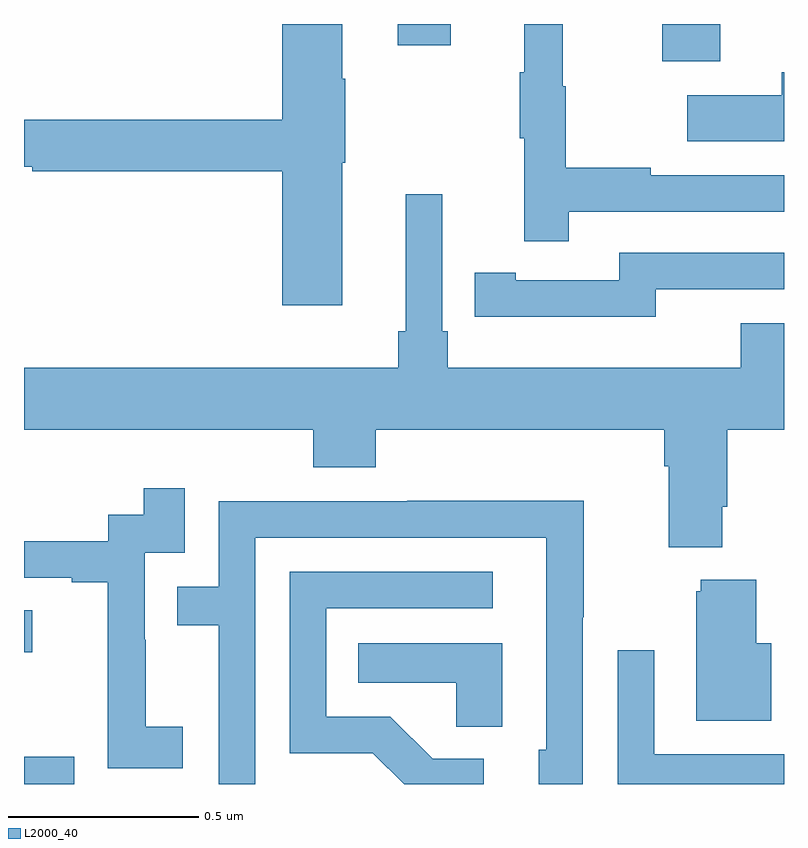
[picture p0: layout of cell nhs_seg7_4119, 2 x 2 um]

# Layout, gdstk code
import gdstk
lib = gdstk.Library(unit=1e-6, precision=1e-09)
def R(c, l, rs):  # rectangles x0, y0, x1, y1
    for r in rs: c.add(gdstk.rectangle(r[:2], r[2:], *l))
def P(c, l, *ps):  # polygons
    for p in ps: c.add(gdstk.Polygon(p, *l))
L2000_40 = (2000, 40)

nhs_seg7_4119 = lib.new_cell('nhs_seg7_4119')
R(nhs_seg7_4119, L2000_40, [(168,1017,168.132,1017.072), (168,1017.347,168.022,1017.457), (169.679,1018.902,169.832,1019), (168.983,1018.944,169.123,1019)])
P(nhs_seg7_4119, L2000_40, [(169.433,1018.506),(170,1018.506),(170,1018.602),(169.649,1018.602),(169.649,1018.622),(169.426,1018.622),(169.426,1018.836),(169.418,1018.836),(169.418,1019),(169.316,1019),(169.316,1018.873),(169.305,1018.873),(169.305,1018.699),(169.316,1018.699),(169.316,1018.428),(169.433,1018.428)],
  [(168.838,1018.635),(168.846,1018.635),(168.846,1018.856),(168.838,1018.856),(168.838,1019),(168.68,1019),(168.68,1018.748),(168,1018.748),(168,1018.625),(168.022,1018.625),(168.022,1018.612),(168.68,1018.612),(168.68,1018.26),(168.838,1018.26)],
  [(170,1018.873),(169.994,1018.873),(169.994,1018.813),(169.745,1018.813),(169.745,1018.691),(170,1018.691)],
  [(169.837,1017.73),(169.85,1017.73),(169.85,1017.932),(170,1017.932),(170,1018.213),(169.886,1018.213),(169.886,1018.096),(169.115,1018.096),(169.115,1018.192),(169.101,1018.192),(169.101,1018.552),(169.004,1018.552),(169.004,1018.192),(168.985,1018.192),(168.985,1018.096),(168,1018.096),(168,1017.932),(168.761,1017.932),(168.761,1017.833),(168.926,1017.833),(168.926,1017.932),(169.685,1017.932),(169.685,1017.836),(169.697,1017.836),(169.697,1017.623),(169.837,1017.623)],
  [(169.662,1018.302),(170,1018.302),(170,1018.398),(169.566,1018.398),(169.566,1018.326),(169.294,1018.326),(169.294,1018.346),(169.186,1018.346),(169.186,1018.23),(169.294,1018.23),(169.294,1018.229),(169.662,1018.229)],
  [(168.418,1017.151),(168.32,1017.151),(168.32,1017.38),(168.318,1017.38),(168.318,1017.609),(168.423,1017.609),(168.423,1017.778),(168.315,1017.778),(168.315,1017.708),(168.222,1017.708),(168.222,1017.639),(168,1017.639),(168,1017.543),(168.125,1017.543),(168.125,1017.531),(168.221,1017.531),(168.221,1017.247),(168.22,1017.247),(168.22,1017.041),(168.418,1017.041)],
  [(168.609,1017.648),(169.374,1017.648),(169.374,1017.09),(169.355,1017.09),(169.355,1017),(169.47,1017),(169.47,1017.439),(169.473,1017.439),(169.473,1017.746),(169.009,1017.746),(169.009,1017.744),(168.513,1017.744),(168.513,1017.519),(168.403,1017.519),(168.403,1017.418),(168.513,1017.418),(168.513,1017),(168.609,1017)],
  [(169.21,1017.066),(169.075,1017.066),(168.964,1017.177),(168.795,1017.177),(168.795,1017.462),(169.234,1017.462),(169.234,1017.558),(168.699,1017.558),(168.699,1017.081),(168.918,1017.081),(169,1017),(169.21,1017)],
  [(169.966,1017.37),(169.927,1017.37),(169.927,1017.538),(169.781,1017.538),(169.781,1017.507),(169.769,1017.507),(169.769,1017.167),(169.966,1017.167)],
  [(169.258,1017.37),(168.88,1017.37),(168.88,1017.266),(169.137,1017.266),(169.137,1017.151),(169.258,1017.151)],
  [(170,1017.078),(169.659,1017.078),(169.659,1017.352),(169.563,1017.352),(169.563,1017),(170,1017)])

lib.write_gds('nhs_seg7_4119.gds')
